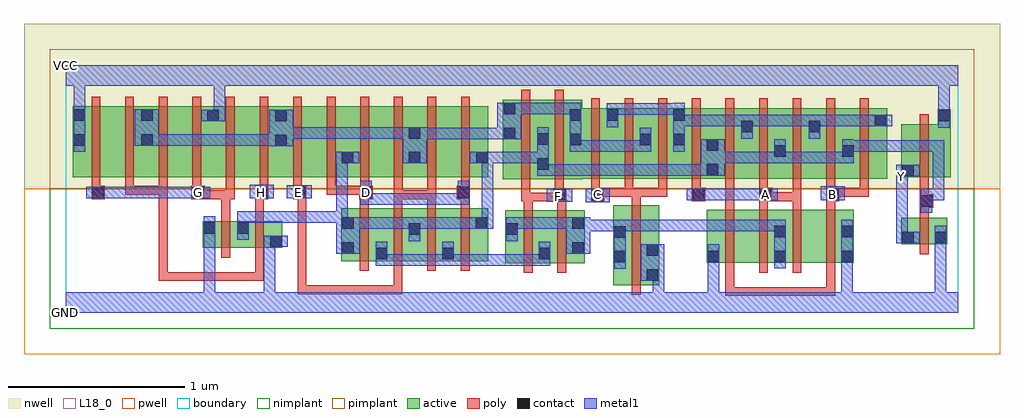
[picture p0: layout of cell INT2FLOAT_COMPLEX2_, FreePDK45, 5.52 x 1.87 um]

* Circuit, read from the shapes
.subckt INT2FLOAT_COMPLEX2_ A B C D E F G GND H VCC Y
M1 n1 G GND VSUBS nfet w=0.15u l=0.05u
M2 GND H n1 VSUBS nfet w=0.15u l=0.05u
M3 n2 D n1 VSUBS nfet w=0.3u l=0.05u m=2
M4 n1 E n2 VSUBS nfet w=0.3u l=0.05u m=2
M5 n2 F n3 VSUBS nfet w=0.3u l=0.05u m=2
M6 GND C n3 VSUBS nfet w=0.45u l=0.05u
M7 n4 B GND VSUBS nfet w=0.3u l=0.05u
M8 n3 A n4 VSUBS nfet w=0.3u l=0.05u
M9 n5 A n3 VSUBS nfet w=0.3u l=0.05u
M10 GND B n5 VSUBS nfet w=0.3u l=0.05u
M11 GND n1 Y VSUBS nfet w=0.15u l=0.05u
M12 n6 G VCC n7 pfet w=0.4u l=0.05u
M13 n8 H n6 n7 pfet w=0.4u l=0.05u
M14 n9 H n8 n7 pfet w=0.4u l=0.05u
M15 VCC G n9 n7 pfet w=0.4u l=0.05u
M16 n10 G VCC n7 pfet w=0.4u l=0.05u
M17 n8 H n10 n7 pfet w=0.4u l=0.05u
M18 n11 E n8 n7 pfet w=0.4u l=0.05u
M19 n1 D n11 n7 pfet w=0.4u l=0.05u
M20 n12 D n1 n7 pfet w=0.4u l=0.05u
M21 n8 E n12 n7 pfet w=0.4u l=0.05u
M22 n13 E n8 n7 pfet w=0.4u l=0.05u
M23 n1 D n13 n7 pfet w=0.4u l=0.05u
M24 n1 F n8 n7 pfet w=0.45u l=0.05u m=2
M25 n14 C n8 n7 pfet w=0.4u l=0.05u m=3
M26 n1 A n14 n7 pfet w=0.4u l=0.05u m=3
M27 n14 B n1 n7 pfet w=0.4u l=0.05u m=3
M28 VCC n1 Y n7 pfet w=0.3u l=0.05u
.ends

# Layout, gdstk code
import gdstk
lib = gdstk.Library(unit=1e-6, precision=1e-09)
def R(c, l, rs):  # rectangles x0, y0, x1, y1
    for r in rs: c.add(gdstk.rectangle(r[:2], r[2:], *l))
def A(c, l, x, y, w, h, nx, ny, dx, dy):  # array of equal rectangles
    R(c, l, [(x+i*dx, y+j*dy, x+i*dx+w, y+j*dy+h) for i in range(nx) for j in range(ny)])
active = (1, 0)
pwell = (2, 0)
nwell = (3, 0)
nimplant = (4, 0)
pimplant = (5, 0)
poly = (9, 0)
contact = (10, 0)
metal1 = (11, 0)
L18_0 = (18, 0)
boundary = (235, 0)

int2float_complex2_ = lib.new_cell('INT2FLOAT_COMPLEX2_')
A(int2float_complex2_, active, 3.242, 0.757, 0.075, 0.313, 3, 1, 0.38, 0)
A(int2float_complex2_, active, 1.407, 0.767, 0.225, 0.4, 3, 1, 0.38, 0)
R(int2float_complex2_, active, [(3.097,0.157,3.357,0.607), (3.282,0.157,3.357,0.607), (3.097,0.195,3.172,0.607), (2.487,0.28,2.747,0.58), (2.672,0.28,2.937,0.58), (2.862,0.28,2.937,0.58), (3.627,0.282,3.702,0.582), (3.627,0.282,3.852,0.582), (3.852,0.282,4.077,0.582), (4.002,0.282,4.232,0.582), (4.002,0.282,4.077,0.517), (4.232,0.282,4.457,0.582), (4.382,0.282,4.457,0.582), (1.56,0.292,1.635,0.592), (1.56,0.292,1.825,0.592), (1.75,0.292,2.01,0.592), (1.75,0.292,1.825,0.437), (1.935,0.292,2.2,0.592), (2.125,0.292,2.39,0.592), (2.125,0.297,2.2,0.405), (2.672,0.297,2.747,0.392), (1.935,0.33,2.01,0.51), (2.315,0.33,2.39,0.592), (2.487,0.33,2.562,0.58), (0.777,0.367,1.042,0.517), (0.967,0.367,1.227,0.517), (1.152,0.367,1.227,0.517), (4.727,0.387,4.802,0.537), (4.727,0.387,4.987,0.537), (4.912,0.387,4.987,0.537), (0.777,0.442,0.852,0.517), (0.967,0.442,1.042,0.517), (2.472,0.755,2.737,1.205), (2.472,0.755,2.547,1.2), (2.662,0.755,2.922,1.205), (2.662,0.755,2.737,1.07), (2.847,0.757,3.132,1.157), (3.057,0.757,3.317,1.157), (3.242,0.757,3.507,1.157), (3.432,0.757,3.697,1.157), (3.622,0.757,3.892,1.157), (3.817,0.757,4.077,1.157), (4.002,0.757,4.272,1.157), (4.197,0.757,4.462,1.157), (4.387,0.757,4.647,1.157), (0.042,0.767,0.267,1.167), (0.042,0.767,0.117,1.167), (0.267,0.767,0.497,1.167), (0.422,0.767,0.647,1.167), (0.422,0.767,0.497,1.155), (0.647,0.767,0.872,1.167), (0.797,0.767,1.027,1.167), (1.027,0.767,1.257,1.167), (1.182,0.767,1.407,1.167), (1.182,0.767,1.257,1.16), (1.557,0.767,1.632,1.07), (1.557,0.767,1.787,1.167), (1.937,0.767,2.167,1.167), (1.937,0.767,2.012,1.155), (2.317,0.767,2.392,1.07), (4.727,0.767,5.007,1.067), (4.727,0.767,4.802,0.94), (4.932,0.767,5.007,1.152), (4.387,0.772,4.462,1.07), (0.797,0.907,0.872,1.167), (2.847,0.907,2.922,1.2), (3.057,0.907,3.132,1.157), (3.432,0.907,3.507,1.157), (3.817,0.907,3.892,1.157), (4.197,0.907,4.272,1.157), (4.572,0.907,4.647,1.157)])
R(int2float_complex2_, pwell, [(-0.235,-0.235,5.285,0.7)])
R(int2float_complex2_, nwell, [(-0.235,0.7,5.285,1.635)])
R(int2float_complex2_, nimplant, [(-0.09,-0.09,5.14,0.7)])
R(int2float_complex2_, pimplant, [(-0.09,0.7,5.14,1.49)])
A(int2float_complex2_, poly, 3.732, 0.227, 0.05, 0.41, 4, 1, 0.19, 0)
A(int2float_complex2_, poly, 1.665, 0.237, 0.05, 0.41, 4, 1, 0.19, 0)
A(int2float_complex2_, poly, 3.732, 0.587, 0.05, 0.095, 4, 1, 0.19, 0)
A(int2float_complex2_, poly, 1.665, 0.597, 0.05, 0.095, 4, 1, 0.19, 0)
A(int2float_complex2_, poly, 3.542, 0.632, 0.075, 0.075, 3, 1, 0.38, 0)
A(int2float_complex2_, poly, 2.972, 0.657, 0.05, 0.095, 4, 1, 0.19, 0)
A(int2float_complex2_, poly, 0.147, 0.667, 0.05, 0.095, 4, 1, 0.19, 0)
A(int2float_complex2_, poly, 1.097, 0.667, 0.05, 0.095, 4, 1, 0.19, 0)
A(int2float_complex2_, poly, 2.972, 0.702, 0.05, 0.51, 9, 1, 0.19, 0)
A(int2float_complex2_, poly, 0.147, 0.712, 0.05, 0.51, 12, 1, 0.19, 0)
R(int2float_complex2_, poly, [(3.732,0.095,3.782,0.145), (3.732,0.095,3.782,0.145), (3.732,0.095,3.782,0.145), (3.732,0.095,3.782,0.277), (3.732,0.095,3.997,0.145), (3.947,0.095,3.997,0.145), (3.947,0.095,4.13,0.145), (4.08,0.095,4.13,0.145), (4.08,0.095,4.13,0.145), (4.08,0.095,4.13,0.145), (4.08,0.095,4.352,0.145), (4.302,0.095,4.352,0.145), (4.302,0.095,4.352,0.145), (4.302,0.095,4.352,0.145), (4.302,0.095,4.352,0.277), (3.202,0.102,3.252,0.662), (1.312,0.105,1.362,0.155), (1.312,0.105,1.362,0.155), (1.312,0.105,1.362,0.155), (1.312,0.105,1.362,0.155), (1.312,0.105,1.362,0.155), (1.312,0.105,1.527,0.155), (1.312,0.105,1.362,0.692), (1.477,0.105,1.527,0.155), (1.477,0.105,1.527,0.155), (1.477,0.105,1.527,0.155), (1.477,0.105,1.772,0.155), (1.722,0.105,1.772,0.155), (1.722,0.105,1.772,0.155), (1.722,0.105,1.772,0.155), (1.722,0.105,1.905,0.155), (1.855,0.105,1.905,0.155), (1.855,0.105,1.905,0.287), (0.527,0.18,0.577,0.23), (0.527,0.18,0.577,0.23), (0.527,0.18,0.577,0.23), (0.527,0.18,0.71,0.23), (0.527,0.18,0.577,0.717), (0.66,0.18,0.71,0.23), (0.66,0.18,0.71,0.23), (0.66,0.18,0.71,0.23), (0.66,0.18,0.93,0.23), (0.88,0.18,0.93,0.23), (0.88,0.18,0.93,0.23), (0.88,0.18,0.93,0.23), (0.88,0.18,1.122,0.23), (1.072,0.18,1.122,0.23), (1.072,0.18,1.122,0.23), (1.072,0.18,1.122,0.23), (1.072,0.18,1.122,0.362), (2.592,0.225,2.642,0.635), (2.782,0.225,2.832,0.635), (0.882,0.312,0.932,0.572), (1.072,0.312,1.122,0.572), (4.832,0.332,4.882,0.592), (0.882,0.522,0.932,0.692), (1.072,0.522,1.122,0.692), (4.832,0.542,4.882,0.645), (2.592,0.585,2.642,0.68), (2.782,0.585,2.832,0.68), (4.832,0.595,4.907,0.67), (3.202,0.612,3.252,0.707), (4.832,0.62,4.882,0.762), (2.577,0.63,2.627,0.75), (2.577,0.63,2.642,0.68), (2.592,0.63,2.642,0.68), (2.592,0.63,2.642,0.68), (2.592,0.63,2.807,0.68), (2.757,0.63,2.832,0.705), (2.972,0.632,3.047,0.707), (3.732,0.632,3.782,0.682), (3.732,0.632,3.782,0.752), (3.947,0.632,4.162,0.682), (4.112,0.632,4.162,0.682), (4.112,0.632,4.162,0.682), (4.112,0.632,4.162,0.682), (4.112,0.632,4.162,0.752), (0.147,0.642,0.222,0.717), (0.712,0.642,0.787,0.717), (0.737,0.642,0.932,0.692), (0.882,0.642,0.932,0.692), (0.882,0.642,0.932,0.692), (0.882,0.642,0.957,0.692), (0.907,0.642,0.957,0.762), (1.072,0.642,1.147,0.717), (1.287,0.642,1.362,0.717), (1.312,0.642,1.362,0.692), (1.312,0.642,1.362,0.692), (1.312,0.642,1.362,0.692), (1.312,0.642,1.362,0.692), (1.662,0.642,1.737,0.717), (1.855,0.642,1.907,0.692), (1.857,0.642,1.907,0.762), (1.857,0.642,2.095,0.692), (2.045,0.642,2.095,0.692), (2.045,0.642,2.095,0.692), (2.045,0.642,2.097,0.692), (2.047,0.642,2.097,0.762), (2.212,0.642,2.287,0.717), (2.767,0.655,2.817,0.75), (2.997,0.657,3.212,0.707), (3.162,0.657,3.212,0.707), (3.162,0.657,3.212,0.707), (3.162,0.657,3.252,0.707), (3.202,0.657,3.402,0.707), (3.352,0.657,3.402,0.707), (3.352,0.657,3.402,0.707), (3.352,0.657,3.402,0.707), (3.922,0.657,3.972,0.752), (4.302,0.657,4.352,0.752), (4.327,0.657,4.542,0.707), (4.492,0.657,4.542,0.752), (4.492,0.657,4.542,0.707), (4.492,0.657,4.542,0.707), (4.492,0.657,4.542,0.707), (0.337,0.667,0.387,0.717), (0.337,0.667,0.577,0.717), (0.527,0.667,0.577,0.717), (0.527,0.667,0.577,0.717), (0.527,0.667,0.577,0.717), (0.527,0.667,0.577,0.717), (0.527,0.667,0.577,0.717), (1.477,0.667,1.527,0.717), (1.477,0.667,1.527,0.717), (1.477,0.667,1.527,0.717), (1.477,0.667,1.712,0.717), (2.237,0.667,2.287,0.762), (2.577,0.7,2.627,1.26), (2.767,0.7,2.817,1.26), (4.832,0.712,4.882,1.122)])
A(int2float_complex2_, contact, 3.547, 0.637, 0.065, 0.065, 3, 1, 0.38, 0)
R(int2float_complex2_, contact, [(3.287,0.182,3.352,0.247), (3.102,0.285,3.167,0.35), (3.632,0.287,3.697,0.352), (4.007,0.287,4.072,0.352), (4.387,0.287,4.452,0.352), (1.755,0.302,1.82,0.367), (2.13,0.302,2.195,0.367), (2.677,0.302,2.742,0.367), (3.287,0.322,3.352,0.387), (1.565,0.335,1.63,0.4), (2.867,0.335,2.932,0.4), (1.157,0.372,1.222,0.437), (4.732,0.392,4.797,0.457), (4.917,0.392,4.982,0.457), (3.102,0.425,3.167,0.49), (4.007,0.427,4.072,0.492), (4.387,0.427,4.452,0.492), (1.94,0.44,2.005,0.505), (2.492,0.44,2.557,0.505), (0.782,0.447,0.847,0.512), (0.972,0.447,1.037,0.512), (1.565,0.475,1.63,0.54), (2.32,0.475,2.385,0.54), (2.867,0.475,2.932,0.54), (4.837,0.6,4.902,0.665), (2.762,0.635,2.827,0.7), (2.977,0.637,3.042,0.702), (0.152,0.647,0.217,0.712), (0.717,0.647,0.782,0.712), (1.077,0.647,1.142,0.712), (1.292,0.647,1.357,0.712), (1.667,0.647,1.732,0.712), (2.217,0.647,2.282,0.712), (4.732,0.772,4.797,0.837), (3.627,0.777,3.692,0.842), (2.667,0.81,2.732,0.875), (1.942,0.845,2.007,0.91), (2.322,0.845,2.387,0.91), (1.562,0.847,1.627,0.912), (4.007,0.882,4.072,0.947), (4.392,0.882,4.457,0.947), (3.627,0.917,3.692,0.982), (1.187,0.942,1.252,1.007), (0.047,0.945,0.112,1.01), (0.427,0.945,0.492,1.01), (2.852,0.947,2.917,1.012), (3.247,0.947,3.312,1.012), (3.437,0.947,3.502,1.012), (2.667,0.95,2.732,1.015), (2.477,0.982,2.542,1.047), (1.942,0.985,2.007,1.05), (3.822,1.02,3.887,1.085), (4.202,1.02,4.267,1.085), (4.577,1.055,4.642,1.12), (0.802,1.082,0.867,1.147), (1.187,1.082,1.252,1.147), (4.937,1.082,5.002,1.147), (0.047,1.085,0.112,1.15), (0.427,1.085,0.492,1.15), (3.062,1.085,3.127,1.15), (2.852,1.087,2.917,1.152), (3.437,1.087,3.502,1.152), (2.477,1.122,2.542,1.187)])
R(int2float_complex2_, metal1, [(0,0,5.05,0.115), (0.782,0.05,0.847,0.477), (1.122,0.05,1.187,0.115), (1.122,0.05,1.187,0.115), (1.122,0.05,1.187,0.115), (1.122,0.05,1.187,0.115), (1.122,0.05,1.187,0.437), (3.322,0.05,3.387,0.115), (3.322,0.05,3.387,0.115), (3.322,0.05,3.387,0.247), (3.632,0.05,3.697,0.317), (4.387,0.05,4.452,0.317), (4.917,0.05,4.982,0.115), (4.917,0.05,4.982,0.115), (4.917,0.05,4.982,0.115), (4.917,0.05,4.982,0.115), (4.917,0.05,4.982,0.115), (4.917,0.05,4.982,0.115), (4.917,0.05,4.982,0.422), (3.252,0.182,3.387,0.387), (3.102,0.25,3.167,0.525), (3.632,0.252,3.697,0.317), (3.632,0.252,3.697,0.317), (3.632,0.252,3.697,0.317), (3.632,0.252,3.697,0.317), (3.632,0.252,3.697,0.387), (4.007,0.252,4.072,0.527), (4.387,0.252,4.452,0.317), (4.387,0.252,4.452,0.317), (4.387,0.252,4.452,0.317), (4.387,0.252,4.452,0.317), (4.387,0.252,4.452,0.527), (1.755,0.267,1.82,0.402), (1.755,0.267,1.977,0.332), (1.912,0.267,1.977,0.332), (1.912,0.267,1.977,0.332), (1.912,0.267,1.977,0.332), (1.912,0.267,2.115,0.332), (2.05,0.267,2.115,0.332), (2.05,0.267,2.195,0.332), (2.13,0.267,2.195,0.402), (2.13,0.267,2.332,0.332), (2.267,0.267,2.332,0.332), (2.267,0.267,2.332,0.332), (2.267,0.267,2.332,0.332), (2.267,0.267,2.595,0.332), (2.53,0.267,2.595,0.332), (2.53,0.267,2.595,0.332), (2.53,0.267,2.595,0.332), (2.53,0.267,2.742,0.332), (2.677,0.267,2.742,0.402), (1.53,0.335,1.665,0.54), (2.832,0.335,2.967,0.54), (4.917,0.357,4.982,0.492), (1.122,0.372,1.187,0.437), (1.122,0.372,1.187,0.437), (1.122,0.372,1.257,0.437), (4.697,0.392,4.832,0.457), (4.697,0.392,4.762,0.767), (1.94,0.405,2.005,0.54), (2.492,0.405,2.557,0.54), (0.782,0.412,0.847,0.477), (0.782,0.412,0.847,0.477), (0.782,0.412,0.847,0.477), (0.782,0.412,0.847,0.477), (0.782,0.412,0.847,0.477), (0.782,0.412,0.847,0.477), (0.782,0.412,0.847,0.547), (0.972,0.412,1.037,0.547), (2.902,0.46,2.967,0.525), (2.902,0.46,2.967,0.525), (2.902,0.46,3.167,0.525), (3.102,0.46,3.167,0.525), (3.102,0.46,3.167,0.525), (3.102,0.46,3.317,0.525), (3.252,0.46,3.317,0.525), (3.252,0.46,3.317,0.525), (3.252,0.46,3.317,0.525), (3.252,0.46,3.502,0.525), (3.437,0.46,3.502,0.525), (3.437,0.46,3.64,0.525), (3.575,0.46,3.64,0.525), (3.575,0.46,3.64,0.525), (3.575,0.46,3.64,0.525), (3.575,0.46,3.785,0.525), (3.72,0.46,3.785,0.525), (3.72,0.46,3.935,0.525), (3.87,0.46,3.935,0.525), (3.87,0.46,3.935,0.525), (3.87,0.46,3.935,0.525), (3.87,0.46,4.072,0.525), (1.53,0.475,1.595,0.54), (1.53,0.475,1.595,0.912), (1.53,0.475,1.595,0.575), (1.6,0.475,1.802,0.54), (1.737,0.475,1.802,0.54), (1.737,0.475,1.802,0.54), (1.737,0.475,1.802,0.54), (1.737,0.475,1.977,0.54), (1.912,0.475,1.977,0.54), (1.912,0.475,2.005,0.54), (1.94,0.475,2.145,0.54), (2.08,0.475,2.145,0.54), (2.08,0.475,2.18,0.54), (2.115,0.475,2.18,0.54), (2.115,0.475,2.35,0.54), (2.285,0.475,2.35,0.54), (2.285,0.475,2.35,0.54), (2.285,0.475,2.42,0.54), (2.355,0.475,2.42,0.54), (2.355,0.475,2.42,0.54), (2.355,0.475,2.42,0.91), (2.492,0.475,2.56,0.54), (2.495,0.475,2.56,0.54), (2.495,0.475,2.76,0.54), (2.695,0.475,2.76,0.54), (2.695,0.475,2.76,0.54), (2.695,0.475,2.76,0.54), (2.695,0.475,2.897,0.54), (0.972,0.482,1.037,0.547), (0.972,0.482,1.037,0.575), (0.972,0.51,1.287,0.575), (1.222,0.51,1.287,0.575), (1.222,0.51,1.425,0.575), (1.36,0.51,1.425,0.575), (1.36,0.51,1.425,0.575), (1.36,0.51,1.425,0.575), (1.36,0.51,1.595,0.575), (4.837,0.565,4.902,0.7), (1.667,0.612,1.732,0.747), (1.667,0.612,1.802,0.677), (1.737,0.612,1.802,0.677), (1.737,0.612,1.977,0.677), (1.912,0.612,1.977,0.677), (1.912,0.612,1.977,0.677), (1.912,0.612,1.977,0.677), (1.912,0.612,2.115,0.677), (2.05,0.612,2.115,0.677), (2.05,0.612,2.18,0.677), (2.115,0.612,2.18,0.677), (2.115,0.612,2.282,0.677), (2.217,0.612,2.282,0.747), (2.942,0.625,3.077,0.702), (2.722,0.627,2.865,0.7), (4.837,0.635,4.97,0.7), (4.905,0.635,4.97,0.7), (4.905,0.635,4.97,0.975), (3.512,0.637,3.647,0.702), (3.582,0.637,3.647,0.702), (3.582,0.637,3.647,0.702), (3.582,0.637,3.797,0.702), (3.732,0.637,3.797,0.702), (3.732,0.637,3.935,0.702), (3.87,0.637,3.935,0.702), (3.87,0.637,3.957,0.702), (3.892,0.637,4.027,0.702), (4.272,0.637,4.407,0.715), (0.117,0.647,0.252,0.712), (0.187,0.647,0.252,0.712), (0.187,0.647,0.252,0.712), (0.187,0.647,0.39,0.712), (0.325,0.647,0.39,0.712), (0.325,0.647,0.527,0.712), (0.462,0.647,0.527,0.712), (0.462,0.647,0.527,0.712), (0.462,0.647,0.527,0.712), (0.462,0.647,0.665,0.712), (0.6,0.647,0.665,0.712), (0.6,0.647,0.747,0.712), (0.682,0.647,0.817,0.712), (1.042,0.647,1.177,0.725), (1.252,0.647,1.392,0.722), (4.697,0.702,4.762,0.837), (4.697,0.772,4.762,0.837), (4.697,0.772,4.832,0.837), (2.667,0.775,2.732,0.84), (2.667,0.775,2.732,0.84), (2.667,0.775,2.732,1.05), (2.667,0.775,2.897,0.84), (2.832,0.775,2.897,0.84), (2.832,0.775,2.897,0.84), (2.832,0.775,2.897,0.84), (2.832,0.775,3.105,0.84), (3.04,0.775,3.105,0.84), (3.04,0.775,3.105,0.84), (3.04,0.775,3.105,0.84), (3.04,0.775,3.317,0.84), (3.252,0.775,3.317,0.84), (3.252,0.775,3.317,0.84), (3.252,0.775,3.317,0.84), (3.252,0.775,3.455,0.84), (3.39,0.775,3.455,0.84), (3.39,0.775,3.455,0.84), (3.39,0.775,3.455,0.84), (3.39,0.775,3.455,0.84), (3.39,0.775,3.455,0.84), (3.39,0.775,3.657,0.84), (3.592,0.775,3.727,0.982), (1.907,0.845,2.042,1.05), (2.287,0.845,2.422,0.91), (2.357,0.845,2.595,0.91), (2.53,0.845,2.595,0.91), (2.53,0.845,2.595,0.91), (2.53,0.845,2.595,0.91), (2.53,0.845,2.732,0.91), (1.527,0.847,1.662,0.912), (1.53,0.847,1.595,0.912), (1.53,0.847,1.595,0.912), (3.662,0.847,3.797,0.912), (3.732,0.847,3.797,0.912), (3.732,0.847,3.935,0.912), (3.87,0.847,3.935,0.912), (3.87,0.847,3.935,0.912), (3.87,0.847,3.935,0.912), (3.87,0.847,4.072,0.912), (4.007,0.847,4.072,0.912), (4.007,0.847,4.072,0.912), (4.007,0.847,4.072,0.982), (4.007,0.847,4.21,0.912), (4.145,0.847,4.21,0.912), (4.145,0.847,4.21,0.912), (4.145,0.847,4.21,0.912), (4.145,0.847,4.457,0.912), (4.392,0.847,4.457,0.982), (0.047,0.91,0.112,1.185), (4.392,0.91,4.457,0.975), (4.392,0.91,4.457,0.975), (4.392,0.91,4.765,0.975), (4.7,0.91,4.765,0.975), (4.7,0.91,4.765,0.975), (4.7,0.91,4.765,0.975), (4.7,0.91,4.97,0.975), (4.905,0.91,4.97,0.975), (4.905,0.91,4.97,0.975), (4.905,0.91,4.97,0.975), (4.905,0.91,4.97,0.975), (4.905,0.91,4.97,0.975), (2.852,0.912,2.917,0.977), (2.852,0.912,2.917,0.977), (2.852,0.912,2.917,1.187), (2.852,0.912,3.105,0.977), (3.04,0.912,3.105,0.977), (3.04,0.912,3.105,0.977), (3.04,0.912,3.105,0.977), (3.04,0.912,3.312,0.977), (3.247,0.912,3.312,1.047), (3.437,0.912,3.502,1.187), (1.152,0.942,1.287,1.147), (0.392,0.945,0.527,1.15), (0.462,0.945,0.527,1.01), (0.462,0.945,0.527,1.01), (0.462,0.945,0.695,1.01), (0.63,0.945,0.695,1.01), (0.63,0.945,0.695,1.01), (0.63,0.945,0.695,1.01), (0.63,0.945,0.832,1.01), (0.767,0.945,0.832,1.01), (0.767,0.945,0.832,1.01), (0.767,0.945,0.832,1.01), (0.767,0.945,1.05,1.01), (0.985,0.945,1.05,1.01), (0.985,0.945,1.05,1.01), (0.985,0.945,1.05,1.01), (0.985,0.945,1.217,1.01), (1.977,0.982,2.145,1.047), (2.08,0.982,2.145,1.047), (2.08,0.982,2.18,1.047), (2.115,0.982,2.18,1.047), (2.115,0.982,2.317,1.047), (2.252,0.982,2.317,1.047), (2.252,0.982,2.422,1.047), (2.357,0.982,2.422,1.047), (2.357,0.982,2.507,1.047), (2.442,0.982,2.577,1.187), (1.222,0.985,1.425,1.05), (1.36,0.985,1.425,1.05), (1.36,0.985,1.425,1.05), (1.36,0.985,1.425,1.05), (1.36,0.985,1.592,1.05), (1.527,0.985,1.592,1.05), (1.527,0.985,1.592,1.05), (1.527,0.985,1.592,1.05), (1.527,0.985,1.802,1.05), (1.737,0.985,1.802,1.05), (1.737,0.985,1.802,1.05), (1.737,0.985,1.802,1.05), (1.737,0.985,1.972,1.05), (1.907,0.985,1.972,1.05), (1.907,0.985,1.972,1.05), (3.822,0.985,3.887,1.12), (4.202,0.985,4.267,1.12), (4.937,1.047,5.002,1.182), (3.062,1.05,3.127,1.185), (3.437,1.055,3.502,1.12), (3.437,1.055,3.502,1.12), (3.437,1.055,3.64,1.12), (3.575,1.055,3.64,1.12), (3.575,1.055,3.785,1.12), (3.72,1.055,3.785,1.12), (3.72,1.055,3.887,1.12), (3.822,1.055,3.935,1.12), (3.87,1.055,3.935,1.12), (3.87,1.055,4.072,1.12), (4.007,1.055,4.072,1.12), (4.007,1.055,4.072,1.12), (4.007,1.055,4.072,1.12), (4.007,1.055,4.267,1.12), (4.202,1.055,4.267,1.12), (4.202,1.055,4.267,1.12), (4.202,1.055,4.47,1.12), (4.405,1.055,4.47,1.12), (4.405,1.055,4.47,1.12), (4.405,1.055,4.47,1.12), (4.405,1.055,4.607,1.12), (4.542,1.055,4.677,1.12), (0.767,1.082,0.902,1.147), (0.837,1.082,0.902,1.35), (4.937,1.117,5.002,1.35), (0.047,1.12,0.112,1.35), (3.062,1.12,3.127,1.185), (3.062,1.12,3.127,1.185), (3.062,1.12,3.317,1.185), (3.252,1.12,3.317,1.185), (3.252,1.12,3.317,1.185), (3.252,1.12,3.317,1.185), (3.252,1.12,3.502,1.185), (2.512,1.122,2.577,1.187), (2.512,1.122,2.577,1.187), (2.512,1.122,2.76,1.187), (2.695,1.122,2.76,1.187), (2.695,1.122,2.76,1.187), (2.695,1.122,2.76,1.187), (2.695,1.122,2.917,1.187), (0,1.285,5.05,1.4), (4.937,1.285,5.002,1.35), (4.937,1.285,5.002,1.35)])
R(int2float_complex2_, L18_0, [(0,0,5.05,0.115), (0.782,0.05,0.847,0.477), (1.122,0.05,1.187,0.115), (1.122,0.05,1.187,0.115), (1.122,0.05,1.187,0.115), (1.122,0.05,1.187,0.115), (1.122,0.05,1.187,0.437), (3.322,0.05,3.387,0.115), (3.322,0.05,3.387,0.115), (3.322,0.05,3.387,0.247), (3.632,0.05,3.697,0.317), (4.387,0.05,4.452,0.317), (4.917,0.05,4.982,0.115), (4.917,0.05,4.982,0.115), (4.917,0.05,4.982,0.115), (4.917,0.05,4.982,0.115), (4.917,0.05,4.982,0.115), (4.917,0.05,4.982,0.115), (4.917,0.05,4.982,0.422), (3.252,0.182,3.387,0.387), (3.632,0.252,3.697,0.317), (3.632,0.252,3.697,0.317), (3.632,0.252,3.697,0.317), (3.632,0.252,3.697,0.317), (3.632,0.252,3.697,0.387), (4.387,0.252,4.452,0.527), (4.387,0.252,4.452,0.317), (4.387,0.252,4.452,0.317), (4.387,0.252,4.452,0.317), (4.387,0.252,4.452,0.317), (4.917,0.357,4.982,0.492), (1.122,0.372,1.257,0.437), (1.122,0.372,1.187,0.437), (1.122,0.372,1.187,0.437), (4.697,0.392,4.832,0.457), (4.697,0.392,4.762,0.767), (0.782,0.412,0.847,0.477), (0.782,0.412,0.847,0.477), (0.782,0.412,0.847,0.477), (0.782,0.412,0.847,0.477), (0.782,0.412,0.847,0.477), (0.782,0.412,0.847,0.477), (0.782,0.412,0.847,0.547), (1.667,0.612,1.802,0.677), (1.667,0.612,1.732,0.747), (1.737,0.612,1.802,0.677), (1.737,0.612,1.977,0.677), (1.912,0.612,1.977,0.677), (1.912,0.612,1.977,0.677), (1.912,0.612,1.977,0.677), (1.912,0.612,2.115,0.677), (2.05,0.612,2.115,0.677), (2.05,0.612,2.18,0.677), (2.115,0.612,2.18,0.677), (2.115,0.612,2.282,0.677), (2.217,0.612,2.282,0.747), (2.942,0.625,3.077,0.702), (2.722,0.627,2.865,0.7), (2.757,0.627,2.822,0.692), (2.977,0.637,3.042,0.702), (3.512,0.637,3.647,0.702), (3.582,0.637,3.647,0.702), (3.582,0.637,3.647,0.702), (3.582,0.637,3.797,0.702), (3.732,0.637,3.797,0.702), (3.732,0.637,3.935,0.702), (3.87,0.637,3.935,0.702), (3.87,0.637,3.957,0.702), (3.892,0.637,4.027,0.702), (3.927,0.637,3.992,0.702), (4.272,0.637,4.407,0.715), (4.307,0.637,4.372,0.702), (0.117,0.647,0.252,0.712), (0.187,0.647,0.252,0.712), (0.187,0.647,0.252,0.712), (0.187,0.647,0.39,0.712), (0.325,0.647,0.39,0.712), (0.325,0.647,0.527,0.712), (0.462,0.647,0.527,0.712), (0.462,0.647,0.527,0.712), (0.462,0.647,0.527,0.712), (0.462,0.647,0.665,0.712), (0.6,0.647,0.665,0.712), (0.6,0.647,0.747,0.712), (0.682,0.647,0.817,0.712), (0.717,0.647,0.782,0.712), (1.042,0.647,1.177,0.725), (1.077,0.647,1.142,0.712), (1.252,0.647,1.392,0.722), (1.287,0.647,1.352,0.712), (1.667,0.647,1.732,0.712), (4.697,0.702,4.762,0.837), (4.697,0.737,4.762,0.802), (4.697,0.772,4.832,0.837), (4.697,0.772,4.762,0.837), (0.047,0.91,0.112,1.185), (4.937,1.047,5.002,1.182), (0.767,1.082,0.902,1.147), (0.837,1.082,0.902,1.35), (4.937,1.117,5.002,1.35), (0.047,1.12,0.112,1.35), (0,1.285,5.05,1.4), (4.937,1.285,5.002,1.35), (4.937,1.285,5.002,1.35)])
R(int2float_complex2_, boundary, [(0,0,5.05,1.4)])
int2float_complex2_.add(gdstk.Label('A', (3.96,0.67), layer=11, texttype=0))
int2float_complex2_.add(gdstk.Label('B', (4.34,0.67), layer=11, texttype=0))
int2float_complex2_.add(gdstk.Label('C', (3.01,0.67), layer=11, texttype=0))
int2float_complex2_.add(gdstk.Label('D', (1.7,0.68), layer=11, texttype=0))
int2float_complex2_.add(gdstk.Label('E', (1.32,0.68), layer=11, texttype=0))
int2float_complex2_.add(gdstk.Label('F', (2.79,0.66), layer=11, texttype=0))
int2float_complex2_.add(gdstk.Label('G', (0.75,0.68), layer=11, texttype=0))
int2float_complex2_.add(gdstk.Label('H', (1.11,0.68), layer=11, texttype=0))
int2float_complex2_.add(gdstk.Label('Y', (4.73,0.77), layer=11, texttype=0))
int2float_complex2_.add(gdstk.Label('VCC', (0,1.4), layer=11, texttype=0))
int2float_complex2_.add(gdstk.Label('GND', (0,0), layer=11, texttype=0))

lib.write_gds('INT2FLOAT_COMPLEX2_.gds')
